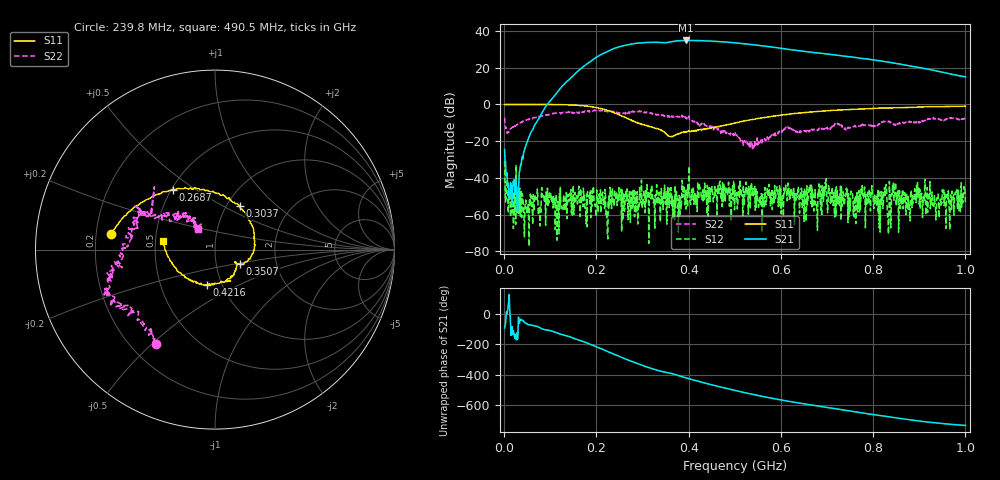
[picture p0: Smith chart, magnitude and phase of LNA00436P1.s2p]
! Created with skrf 1.9.0 (http://scikit-rf.org).
# Hz S RI R 50.0
!freq ReS11 ImS11 ReS21 ImS21 ReS12 ImS12 ReS22 ImS22
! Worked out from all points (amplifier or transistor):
!   1001 points, 1 MHz to 1 GHz, reference 50 ohm
!   highest |S21| = 34.8 dB at 394.6 MHz (marker M1)
!   |S21| within 3 dB of that: 256.6 MHz to 562.7 MHz (306.1 MHz wide, 74.7 % of centre)
!   unconditionally stable (mu >= 1): 219 MHz to 297.4 MHz; 297.9 MHz to 385.6 MHz; 401.1 MHz to end of sweep (the widest 3 of 34)
!   at 166.8 MHz: K = 1.84, MAG = 31.2 dB, |S12| = -53.4 dB
!   at 500.5 MHz: K = 2.12, MAG = 34.2 dB, |S12| = -46.8 dB
!   at 1 GHz: K = 6.93, MAG = 22.9 dB, |S12| = -53.6 dB
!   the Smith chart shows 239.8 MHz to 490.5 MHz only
!   S11 on the Smith chart (normalised r, x): 239.8 MHz: 0.26, +0.07; 268.7 MHz: 0.51, +0.41; 303.7 MHz: 1.15, +0.60; 350.6 MHz: 1.30, -0.22; 421.6 MHz: 0.85, -0.35; 490.5 MHz: 0.55, +0.06
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1000000  0.9855 0.00632  -0.00196 -0.0595  -0.028 -0.00397  0.2719 0.3458
1.08892e8  0.5298 -0.8426  -0.8154 -1.518  -6.97e-05 0.00183  0.4167 -0.3908
1.67833e8  -0.2189 -0.9032  -9.841 -0.4834  0.00295 0.000672  0.0379 -0.6345
2.08792e8  -0.662 -0.4199  -15.44 16.23  -0.00398 0.00256  -0.2291 -0.6585
2.39761e8  -0.577 0.0887  -2.132 33.86  -0.000177 -0.00437  -0.3314 -0.5282
2.68732e8  -0.2363 0.3343  22.48 35.74  0.000238 0.000693  -0.4954 -0.3314
2.84716e8  -0.0476 0.3317  35.31 29.24  -0.00412 0.000629  -0.5801 -0.2573
3.03697e8  0.1388 0.2413  45.82 15.03  0.00162 0.00405  -0.5711 -0.1529
3.34666e8  0.2156 -0.00625  47.8 -10.24  -0.00325 -0.000225  -0.5303 -0.0222
3.5065e8  0.1387 -0.0809  44.35 -18.91  -0.00294 0.00334  -0.4637 0.0643
3.7063e8  0.12 -0.0847  42.36 -32.32  0.00169 0.0059  -0.4552 0.1802
3.94606e8  0.0729 -0.1619  27.89 -47.69  0.00141 -0.00012  -0.3822 0.1841
4.21579e8  -0.0462 -0.1966  7.362 -53.89  -0.000696 0.00253  -0.2326 0.193
4.53547e8  -0.1943 -0.1304  -15.79 -50.13  -0.000883 -0.00204  -0.1201 0.1655
4.9051e8  -0.2893 0.0495  -34.29 -34.43  0.00489 0.000882  -0.0955 0.113
5.005e8  -0.2908 0.1  -37.59 -29.56  -0.00453 0.000671  -0.1251 0.1259
5.38462e8  -0.2398 0.3035  -41.48 -9.349  0.00118 -0.00501  -0.0565 0.00492
5.83417e8  -0.066 0.4745  -34.87 9.433  0.0029 -0.00207  -0.1457 -0.0473
6.67333e8  0.3259 0.5347  -13.87 22.17  -3.97e-06 -0.00165  -0.2082 -0.00557
7.55245e8  0.639 0.3655  3.026 19.13  -0.00182 -0.00361  -0.247 0.0267
8.34166e8  0.7904 0.1396  9.902 10.06  -0.00076 0.000299  -0.3434 0.00675
1e9  0.8127 -0.3883  5.54 -1.105  0.00023 -0.00209  -0.3044 0.2806
